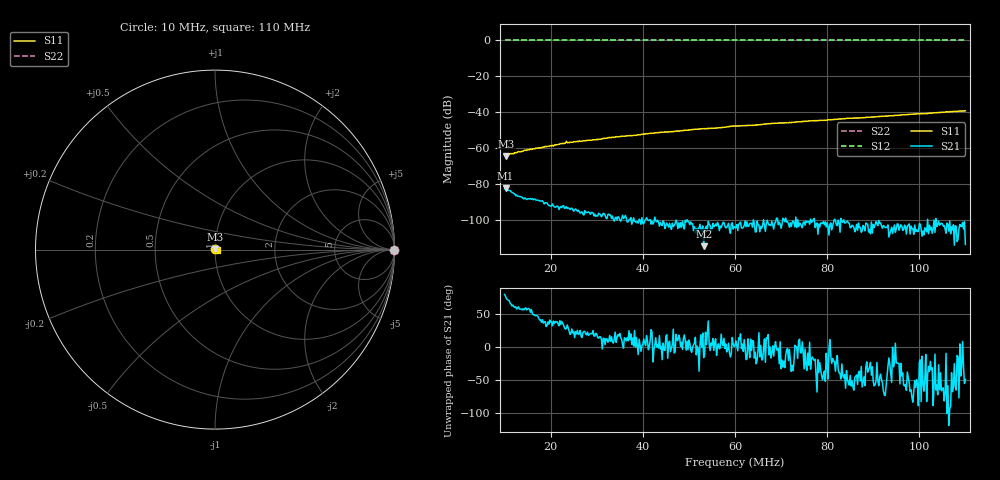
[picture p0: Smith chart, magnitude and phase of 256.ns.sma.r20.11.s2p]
! Anritsu VNA Master:  Model: MS2036C/10/77
! SN:  1601066
! /card0/usr/256.ns.sma.r20.11.s2p
! Existing Calibration Information:
! TYPE:  Current Settings,  Active Cal Settings
! TIME:  12/19/2017 03:36:25 PM,  12/19/2017 03:30:41 PM
! INTERNAL TEMP:  47.8 C,  48.0 C
! # POINTS:  501,  501
! START FREQ:  10.000 MHz,  10.000 MHz
! STOP FREQ:  110.000 MHz,  110.000 MHz
! SOURCE POWER:  High,  High
! IFBW:  100 Hz,  100 Hz
! AVG FACTOR:  1 ,  1
! REF PLANE 1:  0 mm,  0 mm
! REF PLANE 2:  0 mm,  0 mm
! CAL TYPE:  Full S11,  Full S11
! CAL METHOD:  SOLT,  SOLT
! CAL LINE TYPE:  Coax,  Coax
! DUT PORT 1:  N-Conn(F),  N-Conn(F)
! DUT PORT 2:  K-Conn(F),  K-Conn(F)
! CAL STATUS:  OK: Accuracy High,  --
# GHZ S DB R 50.0
! FREQ.GHZ  S11DB  S11A  S21DB  S21A  S12DB  S12A  S22DB  S22A
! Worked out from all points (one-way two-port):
!   501 points, 10 MHz to 110 MHz, reference 50 ohm
!   highest |S21| = -82.20 dB at 10.2 MHz (marker M1); lowest = -114.3 dB at 53.2 MHz (marker M2)
!   lowest |S11| = -64.1 dB at 10.4 MHz (marker M3), VSWR 1.00, Z = 50 + j0.062 ohm
!   |S11| at or under -10 dB: start of sweep to end of sweep
!   |S22| runs from 0.0 to 0.0 dB; largest |S21 - S12| = 1
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0.01  -63.76 89.7  -82.51 79.2  0.00 0.0  0.00 0.0
0.0102  -63.81 87.7  -82.20 76.7  0.00 0.0  0.00 0.0
0.0104  -64.14 91.9  -82.83 73.0  0.00 0.0  0.00 0.0
0.0146  -61.17 82.7  -87.89 59.0  0.00 0.0  0.00 0.0
0.0206  -58.64 74.9  -91.97 39.1  0.00 0.0  0.00 0.0
0.0234  -56.02 71.5  -92.32 28.1  0.00 0.0  0.00 0.0
0.0268  -55.96 68.4  -95.26 14.4  0.00 0.0  0.00 0.0
0.0306  -54.79 65.0  -96.35 15.6  0.00 0.0  0.00 0.0
0.0346  -53.51 62.0  -97.90 18.6  0.00 0.0  0.00 0.0
0.038  -52.75 58.5  -98.54 1.4  0.00 0.0  0.00 0.0
0.0434  -51.17 54.3  -100.91 -1.6  0.00 0.0  0.00 0.0
0.0532  -48.95 45.7  -114.29 -16.0  0.00 0.0  0.00 0.0
0.056  -48.69 42.8  -103.02 -12.8  0.00 0.0  0.00 0.0
0.06  -47.52 39.1  -103.95 2.2  0.00 0.0  0.00 0.0
0.064  -47.12 35.9  -99.68 9.0  0.00 0.0  0.00 0.0
0.0674  -46.30 33.0  -102.60 -12.1  0.00 0.0  0.00 0.0
0.0718  -45.57 28.7  -103.75 -3.8  0.00 0.0  0.00 0.0
0.0768  -44.62 24.2  -100.43 -15.2  0.00 0.0  0.00 0.0
0.0794  -44.40 21.7  -102.46 -36.3  0.00 0.0  0.00 0.0
0.0838  -43.44 17.1  -101.46 -41.8  0.00 0.0  0.00 0.0
0.0934  -41.91 8.5  -109.21 -16.6  0.00 0.0  0.00 0.0
0.11  -39.08 -9.9  -113.31 -49.0  0.00 0.0  0.00 0.0
